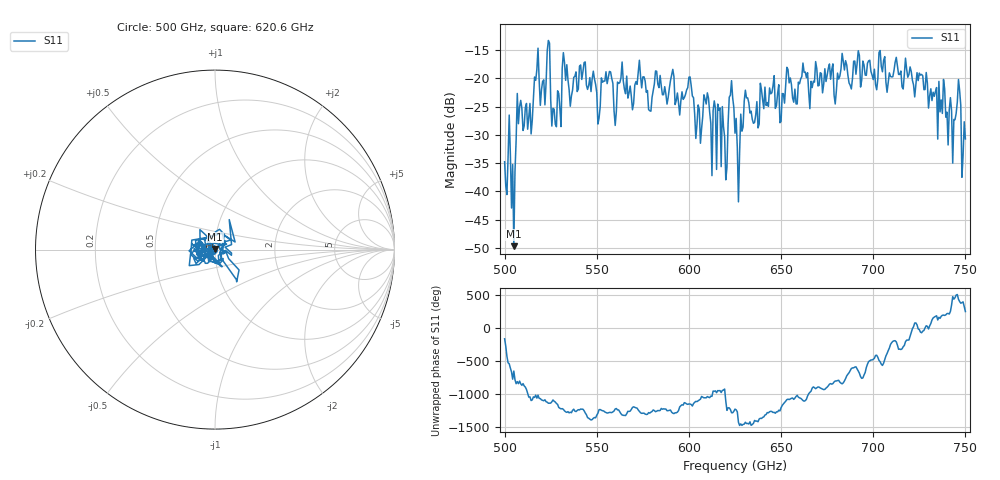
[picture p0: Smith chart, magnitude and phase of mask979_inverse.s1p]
!Created with skrf (http://scikit-rf.org).
# GHz S MA R 50.0
!freq magS11 angS11
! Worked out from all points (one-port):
!   401 points, 500 GHz to 750 GHz, reference 50 ohm
!   lowest |S11| = -49.7 dB at 505 GHz (marker M1), VSWR 1.01, Z = 50.1 + j0.305 ohm
!   |S11| at or under -10 dB: start of sweep to end of sweep
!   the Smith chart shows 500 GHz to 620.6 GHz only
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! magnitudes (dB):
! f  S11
! 500 GHz  -34.8
! 505 GHz  -49.7
! 508.1 GHz  -25.0
! 513.8 GHz  -24.4
! 516.9 GHz  -20.3
! 520.6 GHz  -20.5
! 523.8 GHz  -13.3
! 526.9 GHz  -25.5
! 531.2 GHz  -18.3
! 542.5 GHz  -18.8
! 550.6 GHz  -28.1
! 562.5 GHz  -20.8
! 590.6 GHz  -19.4
! 593.8 GHz  -22.6
! 600 GHz  -19.8
! 605 GHz  -24.7
! 609.4 GHz  -24.5
! 620 GHz  -38.0
! 622.5 GHz  -23.0
! 625 GHz  -29.7
! 626.2 GHz  -32.3
! 631.2 GHz  -23.5
! 656.2 GHz  -23.5
! 687.5 GHz  -21.2
! 718.8 GHz  -19.8
! 741.9 GHz  -23.4
! 746.2 GHz  -20.2
! 750 GHz  -30.7
